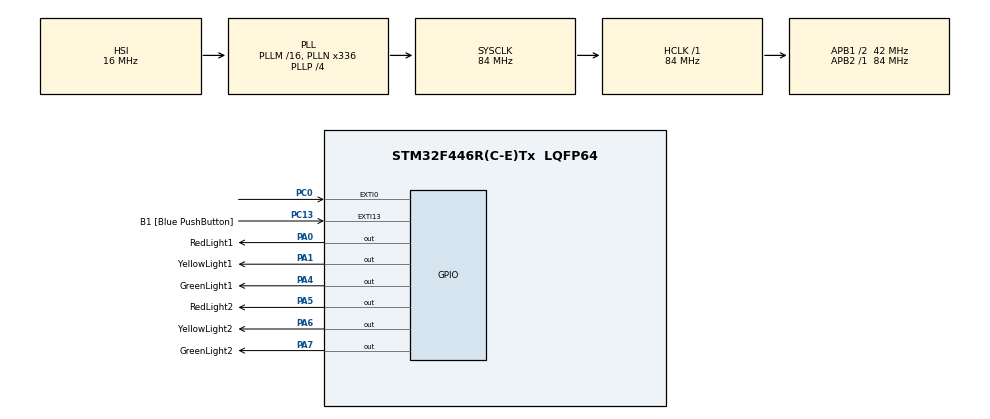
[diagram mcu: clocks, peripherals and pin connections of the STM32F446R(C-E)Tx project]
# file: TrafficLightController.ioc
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FREERTOS.Tasks01=defaultTask,0,128,StartDefaultTask,Default,NULL,Dynamic,NULL,NULL
Mcu.Family=STM32F4
Mcu.Name=STM32F446R(C-E)Tx
Mcu.Package=LQFP64
NVIC.EXTI15_10_IRQn=true\:5\:0\:false\:false\:true\:true\:true\:true\:true
NVIC.PriorityGroup=NVIC_PRIORITYGROUP_4
NVIC.TIM1_UP_TIM10_IRQn=true\:15\:0\:false\:false\:true\:false\:false\:true\:true
NVIC.TimeBase=TIM1_UP_TIM10_IRQn
NVIC.TimeBaseIP=TIM1
PA0-WKUP.GPIO_Label=RedLight1
PA0-WKUP.Signal=GPIO_Output
PA1.GPIO_Label=YellowLight1
PA1.Signal=GPIO_Output
PA13.GPIO_Label=TMS
PA13.Mode=Serial_Wire
PA13.Signal=SYS_JTMS-SWDIO
PA14.GPIO_Label=TCK
PA14.Mode=Serial_Wire
PA14.Signal=SYS_JTCK-SWCLK
PA3.GPIO_Label=USART_RX
PA3.Signal=USART2_RX
PA4.GPIO_Label=GreenLight1
PA4.Signal=GPIO_Output
PA5.GPIO_Label=RedLight2
PA5.Signal=GPIO_Output
PA6.GPIO_Label=YellowLight2
PA6.Signal=GPIO_Output
PA7.GPIO_Label=GreenLight2
PA7.Signal=GPIO_Output
PB3.GPIO_Label=SWO
PB3.Signal=SYS_JTDO-SWO
PC0.Signal=GPXTI0
PC13.GPIO_Label=B1 [Blue PushButton]
PC13.GPIO_ModeDefaultEXTI=GPIO_MODE_IT_FALLING
PC13.Signal=GPXTI13
PC14-OSC32_IN.Mode=LSE-External-Oscillator
PC14-OSC32_IN.Signal=RCC_OSC32_IN
PC15-OSC32_OUT.Mode=LSE-External-Oscillator
PC15-OSC32_OUT.Signal=RCC_OSC32_OUT
PH0-OSC_IN.Mode=HSE-External-Oscillator
PH0-OSC_IN.Signal=RCC_OSC_IN
PH1-OSC_OUT.Mode=HSE-External-Oscillator
PH1-OSC_OUT.Signal=RCC_OSC_OUT
ProjectManager.HeapSize=0x200
ProjectManager.StackSize=0x400
ProjectManager.TargetToolchain=STM32CubeIDE
RCC.48MHZClocksFreq_Value=84000000
RCC.AHBFreq_Value=84000000
RCC.APB1CLKDivider=RCC_HCLK_DIV2
RCC.APB1Freq_Value=42000000
RCC.APB1TimFreq_Value=84000000
RCC.APB2Freq_Value=84000000
RCC.APB2TimFreq_Value=84000000
RCC.CortexFreq_Value=84000000
RCC.FLatency-AdvancedSettings=FLASH_LATENCY_2
RCC.HCLKFreq_Value=84000000
RCC.HSE_VALUE=8000000
RCC.HSI_VALUE=16000000
RCC.PLLN=336
RCC.PLLP=RCC_PLLP_DIV4
RCC.SYSCLKFreq_VALUE=84000000
RCC.SYSCLKSource=RCC_SYSCLKSOURCE_PLLCLK
RCC.USBFreq_Value=168000000
RCC.VCOOutputFreq_Value=336000000
VP_FREERTOS_VS_CMSIS_V1.Mode=CMSIS_V1
VP_SYS_VS_tim1.Mode=TIM1
board=NUCLEO-F446RE

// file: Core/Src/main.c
/* USER CODE BEGIN Header */
/**
  ******************************************************************************
  * @file           : main.c
  * @brief          : Main program body
  ******************************************************************************
  * @attention
  *
  * Copyright (c) 2026 STMicroelectronics.
  * All rights reserved.
  *
  * This software is licensed under terms that can be found in the LICENSE file
  * in the root directory of this software component.
  * If no LICENSE file comes with this software, it is provided AS-IS.
  *
  ******************************************************************************
  */
/* USER CODE END Header */
#include "main.h"
#include "cmsis_os.h"

/* USER CODE BEGIN Includes */
#include "FreeRTOS.h"
#include "task.h"
#include "timers.h"
#include "queue.h"
#include "semphr.h"
#include "event_groups.h"
#include "stdlib.h"
#include "string.h"
/* USER CODE END Includes */

/* USER CODE BEGIN PTD */
#define RED 0
#define YELLOW 1
#define GREEN 2
/* USER CODE END PTD */

osThreadId defaultTaskHandle;

void SystemClock_Config(void);
static void MX_GPIO_Init(void);
void StartDefaultTask(void const * argument);

/* USER CODE BEGIN 0 */
//Allocate semaphore for crosswalk button presses
	SemaphoreHandle_t CrossingSignal;
//creation of tasks for traffic light controls
	TaskHandle_t TrafficHandler;
	TaskHandle_t CrossingHandler;
	void TrafficTask(void *argument);
	void CrossingTask(void *argument);
	/*Crosswalk request value, TrafficTask will check for if the value is 1
	 * then will initialize the crossingtasks forced red light
	 */
	volatile uint8_t CrossReq;
	/*creates a 2D array to correlate values (0 being signal 1, 1 being signal 2)
	 with each operation linking to a state (0 red, 1 yellow, 2 green)
	 */
	uint16_t Signal[2][3]={
	{GPIO_PIN_0, GPIO_PIN_1, GPIO_PIN_4},
	{GPIO_PIN_5, GPIO_PIN_6, GPIO_PIN_7}
	};
	void UpdateSignal(int s1, int s2){
		int i;
		GPIO_PinState s1Pin;
		GPIO_PinState s2Pin;
		for(i = 0; i < 3; i++){
		/*reads the signal given from traffic or crosswalk function
		if the signal for s1 or s2 is equal to i it will trigger the pin to turn on
		otherwise, the pin is turned off
		 */
			if(i == s1){
				s1Pin = GPIO_PIN_SET;
			}else{
				s1Pin = GPIO_PIN_RESET;
			}
			HAL_GPIO_WritePin(GPIOA, Signal[0][i], s1Pin);

			if(i == s2){
				s2Pin = GPIO_PIN_SET;
			}else{
				s2Pin = GPIO_PIN_RESET;
			}
			HAL_GPIO_WritePin(GPIOA, Signal[1][i], s2Pin);
		}

	}
	uint8_t CrossingCheck(uint32_t Delay){
		/*This function checks if the crossing road request has been validated
		 * if the crossing request occurs it return
		 */
		uint32_t start = xTaskGetTickCount();
		while(xTaskGetTickCount() - start < Delay){
			if(CrossReq){
			return;
			}
			osDelay(100);
		}
	}
	void HAL_GPIO_EXTI_Callback(uint16_t GPIO_Pin){
		BaseType_t xHigherPriorityTaskWoken = pdFALSE;
		xSemaphoreGiveFromISR(CrossingSignal, &xHigherPriorityTaskWoken);
		portYIELD_FROM_ISR(xHigherPriorityTaskWoken);
	}
/* USER CODE END 0 */

int main(void)
{

  /* USER CODE BEGIN 1 */
CrossingSignal = xSemaphoreCreateBinary();

  /* USER CODE END 1 */

  /* MCU Configuration--------------------------------------------------------*/

  /* Reset of all peripherals, Initializes the Flash interface and the Systick. */
  HAL_Init();

  /* Configure the system clock */
  SystemClock_Config();

  /* Initialize all configured peripherals */
  MX_GPIO_Init();
  /* USER CODE BEGIN 2 */
//creation of traffic handling tasks, low priority traffic task not needing semaphore
  //high priority crossing task that waits on a semaphore
  xTaskCreate(TrafficTask, "Traffic", 128, NULL, 1, &TrafficHandler);
  xTaskCreate(CrossingTask, "Crossing", 128, NULL, 3, &CrossingHandler);
  vTaskStartScheduler();
  /* USER CODE END 2 */

  /* Create the thread(s) */
  /* definition and creation of defaultTask */
  osThreadDef(defaultTask, StartDefaultTask, osPriorityNormal, 0, 128);
  defaultTaskHandle = osThreadCreate(osThread(defaultTask), NULL);

  /* Start scheduler */
  osKernelStart();

  /* We should never get here as control is now taken by the scheduler */

  /* Infinite loop */
  while (1)
  {

  }
}

void SystemClock_Config(void)
{
  RCC_OscInitTypeDef RCC_OscInitStruct = {0};
  RCC_ClkInitTypeDef RCC_ClkInitStruct = {0};

  /** Configure the main internal regulator output voltage
  */
  __HAL_RCC_PWR_CLK_ENABLE();
  __HAL_PWR_VOLTAGESCALING_CONFIG(PWR_REGULATOR_VOLTAGE_SCALE3);

  /** Initializes the RCC Oscillators according to the specified parameters
  * in the RCC_OscInitTypeDef structure.
  */
  RCC_OscInitStruct.OscillatorType = RCC_OSCILLATORTYPE_HSI;
  RCC_OscInitStruct.HSIState = RCC_HSI_ON;
  RCC_OscInitStruct.HSICalibrationValue = RCC_HSICALIBRATION_DEFAULT;
  RCC_OscInitStruct.PLL.PLLState = RCC_PLL_ON;
  RCC_OscInitStruct.PLL.PLLSource = RCC_PLLSOURCE_HSI;
  RCC_OscInitStruct.PLL.PLLM = 16;
  RCC_OscInitStruct.PLL.PLLN = 336;
  RCC_OscInitStruct.PLL.PLLP = RCC_PLLP_DIV4;
  RCC_OscInitStruct.PLL.PLLQ = 2;
  RCC_OscInitStruct.PLL.PLLR = 2;
  if (HAL_RCC_OscConfig(&RCC_OscInitStruct) != HAL_OK)
  {
    Error_Handler();
  }

  /** Initializes the CPU, AHB and APB buses clocks
  */
  RCC_ClkInitStruct.ClockType = RCC_CLOCKTYPE_HCLK|RCC_CLOCKTYPE_SYSCLK
                              |RCC_CLOCKTYPE_PCLK1|RCC_CLOCKTYPE_PCLK2;
  RCC_ClkInitStruct.SYSCLKSource = RCC_SYSCLKSOURCE_PLLCLK;
  RCC_ClkInitStruct.AHBCLKDivider = RCC_SYSCLK_DIV1;
  RCC_ClkInitStruct.APB1CLKDivider = RCC_HCLK_DIV2;
  RCC_ClkInitStruct.APB2CLKDivider = RCC_HCLK_DIV1;

  if (HAL_RCC_ClockConfig(&RCC_ClkInitStruct, FLASH_LATENCY_2) != HAL_OK)
  {
    Error_Handler();
  }
}

static void MX_GPIO_Init(void)
{
  GPIO_InitTypeDef GPIO_InitStruct = {0};

  /* GPIO Ports Clock Enable */
  __HAL_RCC_GPIOC_CLK_ENABLE();
  __HAL_RCC_GPIOH_CLK_ENABLE();
  __HAL_RCC_GPIOA_CLK_ENABLE();
  __HAL_RCC_GPIOB_CLK_ENABLE();

  /*Configure GPIO pin Output Level */
  HAL_GPIO_WritePin(GPIOA, RedLight1_Pin|YellowLight1_Pin|GreenLight1_Pin|RedLight2_Pin
                          |YellowLight2_Pin|GreenLight2_Pin, GPIO_PIN_RESET);

  /*Configure GPIO pin : B1_Pin */
  GPIO_InitStruct.Pin = B1_Pin;
  GPIO_InitStruct.Mode = GPIO_MODE_IT_FALLING;
  GPIO_InitStruct.Pull = GPIO_NOPULL;
  HAL_GPIO_Init(B1_GPIO_Port, &GPIO_InitStruct);

  /*Configure GPIO pin : PC0 */
  GPIO_InitStruct.Pin = GPIO_PIN_0;
  GPIO_InitStruct.Mode = GPIO_MODE_IT_RISING;
  GPIO_InitStruct.Pull = GPIO_NOPULL;
  HAL_GPIO_Init(GPIOC, &GPIO_InitStruct);

  /*Configure GPIO pins : RedLight1_Pin YellowLight1_Pin GreenLight1_Pin RedLight2_Pin
                           YellowLight2_Pin GreenLight2_Pin */
  GPIO_InitStruct.Pin = RedLight1_Pin|YellowLight1_Pin|GreenLight1_Pin|RedLight2_Pin
                          |YellowLight2_Pin|GreenLight2_Pin;
  GPIO_InitStruct.Mode = GPIO_MODE_OUTPUT_PP;
  GPIO_InitStruct.Pull = GPIO_NOPULL;
  GPIO_InitStruct.Speed = GPIO_SPEED_FREQ_LOW;
  HAL_GPIO_Init(GPIOA, &GPIO_InitStruct);

  /*Configure GPIO pin : USART_RX_Pin */
  GPIO_InitStruct.Pin = USART_RX_Pin;
  GPIO_InitStruct.Mode = GPIO_MODE_AF_PP;
  GPIO_InitStruct.Pull = GPIO_NOPULL;
  GPIO_InitStruct.Speed = GPIO_SPEED_FREQ_VERY_HIGH;
  GPIO_InitStruct.Alternate = GPIO_AF7_USART2;
  HAL_GPIO_Init(USART_RX_GPIO_Port, &GPIO_InitStruct);

  /* EXTI interrupt init*/
  HAL_NVIC_SetPriority(EXTI15_10_IRQn, 5, 0);
  HAL_NVIC_EnableIRQ(EXTI15_10_IRQn);

}

/* USER CODE BEGIN 4 */
void CrossingTask(void *argument){
	while(1){
	if(xSemaphoreTake(CrossingSignal, portMAX_DELAY)==pdPASS){
	/*When the crossing task takes a semaphore, the crossing request is changed to 1
	 * to indicate people will be crossing, then it waits for the yellow light signal
	 * to be complete, changing the lights for both signals to red then the light
	 will return to it's usual task after the crossing request value clears itself
	 */
		CrossReq = 1;
		while(CrossReq == 1){
			osDelay(100);
		}
	}
	}
}
void TrafficTask(void *argument){
	while(1){
		//signal 1 green, signal 2 red
		UpdateSignal(GREEN, RED);
		CrossingCheck(10000);

		UpdateSignal(YELLOW, RED);
		osDelay(3000);

		if(CrossReq == 1){
			UpdateSignal(RED, RED);
			osDelay(10000);
			CrossReq = 0;
		}

		UpdateSignal(RED, GREEN);
		osDelay(10000);

		UpdateSignal(RED, YELLOW);
		osDelay(3000);

		if (CrossReq == 1){
			UpdateSignal(RED, RED);
			osDelay(10000);
			CrossReq = 0;
		}
	}
}
/* USER CODE END 4 */

void StartDefaultTask(void const * argument)
{
  for(;;)
  {
    osDelay(1);
  }
}

void HAL_TIM_PeriodElapsedCallback(TIM_HandleTypeDef *htim)
{
  if (htim->Instance == TIM1)
  {
    HAL_IncTick();
  }
}

void Error_Handler(void)
{
  __disable_irq();
  while (1)
  {
  }
}
